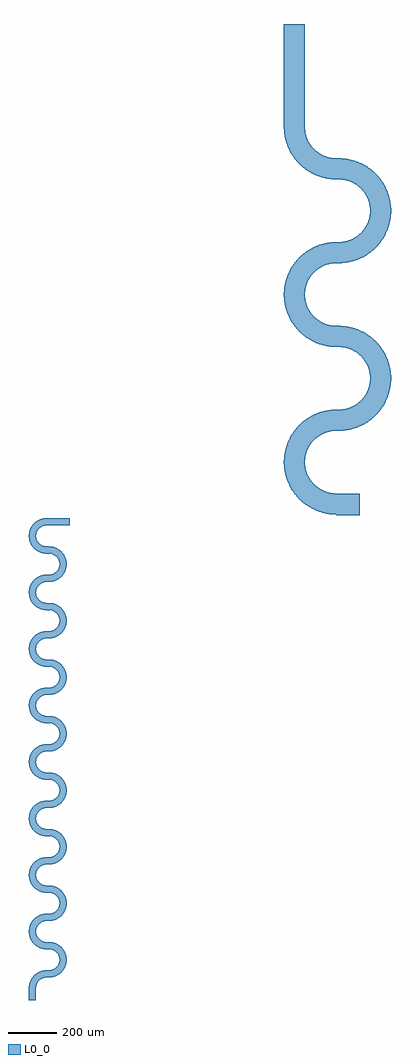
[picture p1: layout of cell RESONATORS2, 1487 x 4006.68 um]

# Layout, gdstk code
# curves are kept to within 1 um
import gdstk
lib = gdstk.Library(unit=1e-6, precision=1e-09)
def P(c, l, *ps):  # polygons
    for p in ps: c.add(gdstk.Polygon(p, *l))
L0_0 = (0, 0)

resonators2 = lib.new_cell('RESONATORS2')
P(resonators2, L0_0, [(1483.954,2511),(1381.34,2510.407),(1371.687,2507.62),(1361.782,2501.828),(1354.619,2494.782),(1349.263,2486.281),(1345.291,2472.524),(1346.001,2458.221),(1351.317,2444.925),(1360.661,2434.075),(1377.126,2425.513),(1412.791,2422.578),(1424.295,2419.256),(1436.3,2413.355),(1340.286,2413.355),(1329.15,2425.861),(1322.106,2438.377),(1317.668,2452.036),(1316.01,2466.301),(1317.196,2480.614),(1321.18,2494.412),(1327.805,2507.154),(1335.16,2516.603),(1345.886,2526.154),(1358.283,2533.403),(1369.543,2537.478),(1383.708,2539.841),(1483.954,2540)],
  [(1437.145,2412.842),(1448.478,2404.021),(1457.85,2393.139),(1464.894,2380.623),(1469.332,2366.964),(1470.99,2352.699),(1469.332,2336.036),(1464.894,2322.377),(1457.85,2309.861),(1450.187,2300.66),(1356.731,2300.66),(1376.567,2307.011),(1408.48,2309.16),(1422.891,2315.482),(1431.461,2323.113),(1438.336,2334.026),(1441.709,2346.476),(1441.519,2357.949),(1438.892,2367.647),(1434.11,2376.483),(1427.429,2383.987),(1419.204,2389.757),(1405.66,2394.407),(1381.319,2395.356),(1367.239,2398.187),(1351.904,2404.914),(1340.286,2413.355)],
  [(1448.478,2298.979),(1435.096,2288.914),(1419.761,2282.187),(1405.681,2279.356),(1381.34,2278.407),(1369.073,2274.421),(1354.619,2262.782),(1346.331,2246.179),(1345.054,2233.343),(1347.596,2220.697),(1353.735,2209.353),(1361.782,2201.172),(1370.37,2195.958),(1379.925,2192.853),(1405.681,2191.644),(1422.041,2188.072),(1333.669,2188.072),(1326.528,2197.875),(1320.327,2210.829),(1316.801,2224.751),(1316.089,2239.095),(1318.218,2253.298),(1322.106,2264.623),(1329.15,2277.139),(1338.522,2288.021),(1356.731,2300.66),(1450.187,2300.66)],
  [(1424.295,2187.256),(1437.145,2180.842),(1448.478,2172.021),(1457.85,2161.139),(1464.894,2148.623),(1469.332,2134.964),(1470.99,2120.699),(1469.332,2104.036),(1464.894,2090.377),(1455.395,2074.578),(1374.209,2074.578),(1408.48,2077.16),(1419.204,2081.243),(1427.429,2087.013),(1435.683,2096.925),(1440.669,2108.821),(1441.946,2121.657),(1439.404,2134.303),(1430.504,2148.962),(1417.927,2158.421),(1405.66,2162.407),(1381.319,2163.356),(1364.959,2166.928),(1347.848,2175.469),(1333.669,2188.072)],
  [(1454.969,2074.03),(1441.114,2060.846),(1424.295,2051.744),(1408.062,2047.633),(1381.34,2046.407),(1369.073,2042.421),(1357.488,2034.004),(1349.263,2022.281),(1345.481,2009.949),(1345.291,1998.476),(1348.664,1986.026),(1354.619,1976.218),(1362.931,1968.308),(1374.376,1962.357),(1384.192,1960.214),(1400.897,1959.96),(1330.531,1959.96),(1323.106,1972.198),(1318.218,1985.702),(1316.089,1999.905),(1316.485,2011.873),(1319.548,2025.904),(1324.176,2036.947),(1332.031,2048.97),(1340.286,2057.645),(1356.121,2068.368),(1374.209,2074.578)],
  [(1403.292,1959.841),(1422.041,1956.072),(1439.152,1947.531),(1453.434,1934.812),(1463.894,1918.802),(1469.804,1900.614),(1470.752,1881.513),(1466.673,1862.829),(1456.653,1844.214),(1402.808,1844.214),(1413.977,1846.846),(1424.069,1852.308),(1431.461,1859.113),(1437.737,1868.719),(1440.999,1878.221),(1441.946,1889.657),(1440.293,1899.567),(1435.683,1910.075),(1425.218,1921.828),(1412.624,1928.643),(1402.808,1930.786),(1376.567,1931.989),(1358.283,1937.597),(1342.102,1947.791),(1330.531,1959.96)],
  [(1456.441,1843.922),(1443.03,1830.287),(1426.521,1820.634),(1408.062,1815.633),(1378.52,1813.84),(1367.796,1809.757),(1359.571,1803.987),(1352.083,1795.292),(1347.129,1784.942),(1345.054,1773.657),(1346.001,1762.221),(1349.906,1751.432),(1356.496,1742.038),(1365.313,1734.695),(1375.921,1729.861),(1329.15,1729.861),(1322.106,1742.377),(1318.218,1753.702),(1316.089,1767.905),(1316.485,1779.873),(1319.548,1793.904),(1324.176,1804.947),(1332.031,1816.97),(1340.286,1825.645),(1358.283,1837.403),(1376.567,1843.011)],
  [(1377.126,1729.513),(1408.062,1727.367),(1426.521,1722.366),(1444.898,1711.209),(1457.85,1697.139),(1467.452,1677.904),(1470.99,1656.699),(1468.155,1635.388),(1459.195,1615.846),(1416.375,1615.846),(1425.218,1621.172),(1433.265,1629.353),(1438.336,1638.026),(1441.519,1649.051),(1441.709,1660.524),(1439.404,1670.303),(1434.917,1679.292),(1427.429,1687.987),(1419.204,1693.757),(1408.48,1697.84),(1378.938,1699.633),(1360.479,1704.634),(1342.102,1715.791),(1329.15,1729.861)],
  [(1457.85,1613.861),(1444.898,1599.791),(1426.521,1588.634),(1408.062,1583.633),(1378.52,1581.84),(1369.073,1578.421),(1360.661,1572.925),(1353.735,1565.647),(1348.664,1556.974),(1345.481,1545.949),(1345.149,1535.908),(1347.129,1526.058),(1351.317,1516.925),(1357.488,1508.996),(1365.313,1502.695),(1326.048,1502.695),(1320.327,1514.829),(1317.196,1526.386),(1316.01,1538.301),(1317.196,1552.614),(1325.317,1575.056),(1332.031,1584.97),(1342.102,1595.209),(1358.283,1605.403),(1376.567,1611.011),(1404.237,1612.38),(1416.375,1615.846),(1459.195,1615.846)],
  [(1366.543,1501.948),(1381.34,1496.593),(1405.681,1495.644),(1422.041,1492.072),(1439.152,1483.531),(1453.434,1470.812),(1464.894,1452.623),(1470.515,1431.873),(1469.804,1410.386),(1462.824,1390.053),(1426.312,1390.053),(1437.737,1404.719),(1440.999,1414.221),(1441.994,1424.219),(1437.737,1442.281),(1432.381,1450.782),(1425.218,1457.828),(1408.48,1465.84),(1378.938,1467.633),(1362.705,1471.744),(1347.848,1479.469),(1333.566,1492.188),(1326.048,1502.695)],
  [(1461.683,1387.944),(1446.714,1369.355),(1428.717,1357.597),(1410.433,1351.989),(1378.52,1349.84),(1361.782,1341.828),(1350.59,1328.833),(1345.149,1311.092),(1347.596,1292.697),(1356.496,1278.038),(1322.262,1278.038),(1318.218,1289.702),(1316.248,1301.513),(1318.218,1325.298),(1327.805,1347.154),(1343.97,1364.713),(1353.994,1371.262),(1367.239,1376.813),(1381.319,1379.644),(1408.48,1381.16),(1417.927,1384.579),(1426.312,1390.053),(1462.824,1390.053)],
  [(1357.488,1276.996),(1366.543,1269.948),(1377.126,1265.513),(1408.062,1263.367),(1424.295,1259.256),(1439.152,1251.531),(1450.187,1242.34),(1461.683,1227.056),(1469.332,1206.964),(1470.752,1185.513),(1466.554,1166.517),(1434.11,1166.517),(1440.999,1182.221),(1441.282,1199.368),(1434.917,1215.292),(1422.891,1227.518),(1407.075,1234.147),(1381.319,1235.356),(1364.959,1238.928),(1349.855,1246.158),(1336.813,1256.66),(1329.15,1265.861),(1322.262,1278.038),(1356.496,1278.038)],
  [(1465.82,1164.588),(1459.195,1151.846),(1451.84,1142.397),(1433.006,1127.738),(1410.433,1119.989),(1377.126,1117.487),(1366.543,1113.052),(1358.513,1107.012),(1349.906,1095.568),(1345.481,1081.949),(1345.718,1067.632),(1349.93,1055.388),(1318.845,1055.388),(1316.01,1076.699),(1319.548,1097.904),(1329.15,1117.139),(1345.886,1134.154),(1358.283,1141.403),(1371.867,1146.066),(1402.808,1148.214),(1413.977,1150.846),(1425.218,1157.172),(1434.11,1166.517),(1466.554,1166.517)],
  [(1350.59,1054.167),(1359.571,1043.013),(1371.687,1035.38),(1382.763,1032.38),(1405.681,1031.644),(1419.761,1028.813),(1435.096,1022.086),(1448.478,1012.021),(1459.195,999.154),(1467.452,981.904),(1470.911,963.095),(1469.332,944.036),(1439.152,944.036),(1441.994,958.781),(1439.404,974.303),(1431.461,987.887),(1420.457,997.052),(1405.66,1002.407),(1381.319,1003.356),(1367.239,1006.187),(1351.904,1012.914),(1338.522,1022.979),(1326.528,1037.875),(1318.845,1055.388),(1349.93,1055.388)],
  [(1468.782,941.702),(1463.894,928.198),(1456.441,915.922),(1446.714,905.355),(1435.096,896.914),(1412.791,888.422),(1377.126,885.487),(1367.796,881.757),(1359.571,875.987),(1352.083,867.292),(1346.707,855.567),(1345.006,844.219),(1346.331,832.821),(1316.792,832.821),(1316.801,854.249),(1322.106,872.623),(1332.031,888.97),(1345.886,902.154),(1358.283,909.403),(1371.867,914.066),(1404.237,916.38),(1416.63,919.958),(1430.504,930.038),(1439.152,944.036),(1469.332,944.036)],
  [(1346.707,831.433),(1355.539,815.113),(1369.073,804.579),(1381.34,800.593),(1405.681,799.644),(1419.761,796.813),(1435.096,790.086),(1446.714,781.645),(1457.85,769.139),(1465.82,754.412),(1470.199,738.249),(1470.752,721.513),(1441.581,721.513),(1441.282,735.368),(1437.094,747.568),(1429.512,758.004),(1419.204,765.757),(1405.66,770.407),(1381.319,771.356),(1367.239,774.187),(1351.904,780.914),(1340.286,789.355),(1332.031,798.03),(1324.176,810.053),(1316.792,832.821),(1346.331,832.821)],
  [(1470.515,719.127),(1467.452,705.096),(1460.472,689.875),(1451.84,678.397),(1439.152,667.469),(1428.717,661.597),(1415.133,656.934),(1375.612,653.047),(1365.093,648.166),(1357.231,641.741),(1349.675,631.119),(1345.606,618.735),(1345,562.281),(1316,562.281),(1316.04,613.923),(1317.453,625.941),(1323.792,644.198),(1336.385,661.901),(1349.489,672.61),(1364.718,679.989),(1381.243,683.636),(1405.66,684.593),(1420.457,689.948),(1428.487,695.988),(1434.917,703.708),(1439.404,712.697),(1441.581,721.513),(1470.752,721.513)],
  [(2675.209,2641.4),(2565.511,2642.006),(2541.002,2646.819),(2517.88,2656.266),(2498.975,2668.439),(2484.169,2681.875),(2470.222,2699.513),(2460.563,2717.018),(2453.725,2735.806),(2449.606,2757.911),(2449.388,2780.397),(2453.078,2802.578),(2365.429,2802.578),(2363,2770.4),(2365.582,2737.178),(2373.267,2704.755),(2385.869,2673.908),(2403.086,2645.379),(2424.505,2619.853),(2449.611,2597.944),(2477.801,2580.176),(2496.687,2571.369),(2520.343,2563.275),(2548.904,2557.378),(2578,2555.4),(2578,2551.4),(2675.209,2551.4)],
  [(2453.725,2804.994),(2462.721,2828.295),(2476.039,2849.425),(2493.18,2867.593),(2513.5,2882.117),(2531.537,2890.742),(2550.69,2896.476),(2568.003,2899.012),(2600.501,2899.764),(2621.222,2901.982),(2645.657,2907.275),(2669.313,2915.369),(2695.5,2928.205),(2719.709,2944.466),(2741.495,2963.853),(2758.489,2983.422),(2548.904,2983.422),(2528.418,2979.605),(2508.397,2973.822),(2489.031,2966.128),(2470.5,2956.595),(2452.979,2945.314),(2433.518,2929.617),(2416.011,2911.767),(2400.695,2892.005),(2387.776,2870.599),(2377.43,2847.838),(2369.796,2824.03),(2365.429,2802.578),(2453.078,2802.578)],
  [(2759.869,2985.238),(2774.195,3006.9),(2785.416,3029.243),(2793.968,3052.737),(2800.418,3081.178),(2802.96,3110.231),(2801.99,3135.214),(2797.205,3163.982),(2790.034,3187.934),(2783.925,3202.925),(2681.831,3202.925),(2694.383,3187.363),(2704.38,3170.049),(2711.581,3151.398),(2716.128,3129.376),(2716.782,3106.899),(2714.076,3087.09),(2708.342,3067.937),(2698.446,3047.746),(2686.82,3031.48),(2672.82,3017.207),(2656.783,3005.268),(2639.094,2995.95),(2622.594,2990.125),(2605.458,2986.587),(2548.904,2983.422),(2758.489,2983.422)],
  [(2783.728,3203.369),(2774.195,3221.9),(2762.914,3239.421),(2747.217,3258.882),(2732.482,3273.617),(2716.389,3286.856),(2699.09,3298.476),(2680.748,3308.366),(2661.534,3316.434),(2637.582,3323.605),(2617.096,3327.422),(2568.003,3329.788),(2553.14,3331.818),(2531.537,3338.058),(2513.5,3346.683),(2394.311,3346.683),(2416.011,3317.033),(2443.02,3291.052),(2474.131,3270.155),(2504.466,3256.366),(2524.37,3250.196),(2544.778,3245.982),(2565.499,3243.764),(2600.489,3242.794),(2624.998,3237.981),(2641.382,3231.837),(2654.654,3224.846),(2668.988,3214.809),(2681.831,3202.925)],
  [(2511.346,3347.954),(2495.08,3359.58),(2482.47,3371.711),(2470.222,3387.513),(2461.62,3402.751),(2454.419,3421.402),(2450.549,3438.467),(2449,3458.4),(2450.549,3478.333),(2454.419,3495.398),(2461.62,3514.049),(2470.222,3529.287),(2482.47,3545.089),(2495.08,3557.22),(2511.346,3568.846),(2529.212,3577.818),(2546.222,3583.421),(2403.086,3583.421),(2387.776,3558.599),(2375.966,3531.934),(2368.795,3507.982),(2364.01,3479.214),(2363.162,3450.063),(2366.266,3421.066),(2372.032,3396.737),(2382.272,3369.431),(2394.311,3346.683),(2513.5,3346.683)],
  [(2548.251,3583.923),(2568.003,3587.012),(2608.814,3588.41),(2637.582,3593.195),(2669.313,3603.369),(2702.639,3620.513),(2732.482,3643.183),(2757.934,3670.691),(2778.224,3702.201),(2787.031,3721.087),(2793.968,3740.737),(2701.302,3740.737),(2689.961,3723.375),(2674.689,3706.87),(2658.887,3694.622),(2639.094,3683.95),(2624.998,3678.819),(2607.933,3674.949),(2557.186,3672.39),(2524.37,3666.604),(2492.843,3655.816),(2463.361,3640.287),(2446.291,3628.334),(2430.458,3614.785),(2416.011,3599.767),(2403.086,3583.421)],
  [(2795.125,3744.743),(2800.418,3769.178),(2802.96,3798.231),(2801.546,3827.36),(2796.204,3856.03),(2787.031,3883.713),(2776.245,3906.269),(2760.456,3930.789),(2743.683,3950.672),(2489.031,3950.672),(2516.337,3940.432),(2540.666,3934.666),(2565.499,3931.764),(2597.997,3931.012),(2617.749,3927.923),(2641.382,3919.837),(2660.963,3908.783),(2678.328,3894.497),(2694.383,3875.363),(2705.437,3855.782),(2713.523,3832.149),(2716.782,3809.901),(2715.813,3784.942),(2710.84,3763.013),(2701.302,3740.737),(2793.968,3740.737)],
  [(2741.495,3952.947),(2722.98,3969.748),(2702.639,3984.287),(2680.748,3996.366),(2657.603,4005.822),(2637.582,4011.605),(2617.096,4015.422),(2555.599,4019.36),(2541.002,4022.819),(2524.618,4028.963),(2507.113,4038.622),(2491.311,4050.87),(2479.18,4063.48),(2467.554,4079.746),(2460.563,4093.018),(2454.419,4109.402),(2450.549,4126.467),(2449.097,4141.398),(2449,4568.958),(2363,4568.958),(2363.364,4133.899),(2366.266,4109.066),(2372.032,4084.737),(2382.272,4057.431),(2393.924,4035.31),(2413.3,4008.201),(2433.518,3987.183),(2459.856,3966.77),(2489.031,3950.672),(2743.683,3950.672)])

lib.write_gds('RESONATORS2.gds')
